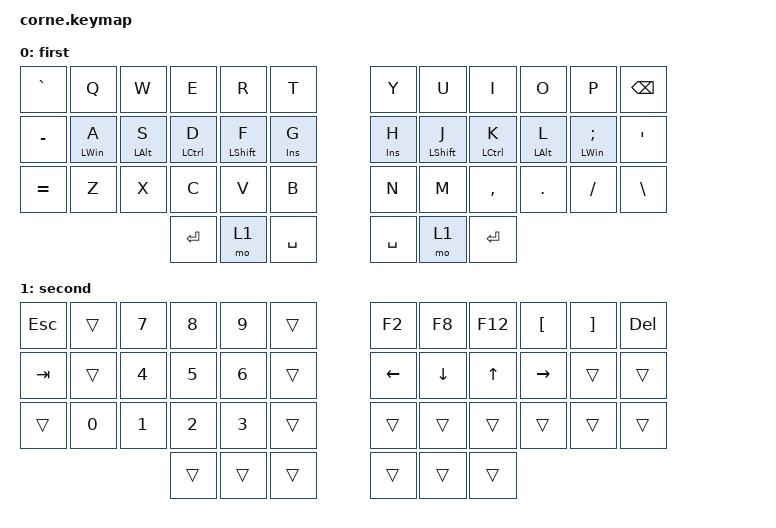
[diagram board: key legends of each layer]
/*
 * Copyright (c) 2020 The ZMK Contributors
 *
 * SPDX-License-Identifier: MIT
 */

#include <behaviors.dtsi>
#include <dt-bindings/zmk/keys.h>


&mt {
    hold-trigger-on-release;
    flavor = "tap-preferred";
    tapping-term-ms = <250>;
};

&lt { tapping-term-ms = <250>; };

/ {
    behaviors {
        new_behavior: new_behavior {
            compatible = "zmk,behavior-hold-tap";
            label = "NEW_BEHAVIOR";
            bindings = <&none>, <&none>;

            #binding-cells = <2>;
            tapping-term-ms = <150>;
            flavor = "tap-preferred";
        };
    };

    keymap {
        compatible = "zmk,keymap";

        first {
            bindings = <
&kp GRAVE  &kp Q           &kp W           &kp E               &kp R             &kp T        &kp Y           &kp U             &kp I               &kp O           &kp P                   &kp BACKSPACE
&kp MINUS  &mt LEFT_WIN A  &mt LEFT_ALT S  &mt LEFT_CONTROL D  &mt LEFT_SHIFT F  &mt INSERT G &mt INSERT H    &mt LEFT_SHIFT J  &mt LEFT_CONTROL K  &mt LEFT_ALT L  &mt LEFT_WIN SEMICOLON  &kp SQT
&kp EQUAL  &kp Z           &kp X           &kp C               &kp V             &kp B        &kp N           &kp M             &kp COMMA           &kp DOT         &kp SLASH               &kp BACKSLASH
                                           &kp ENTER           &mo 1             &kp SPACE    &kp SPACE       &mo 1             &kp ENTER
            >;
        };

        second {
            bindings = <
&kp ESCAPE  &trans        &kp NUMBER_7  &kp NUMBER_8  &kp NUMBER_9  &trans    &kp F2    &kp F8          &kp F12       &kp LEFT_BRACKET  &kp RIGHT_BRACKET  &kp DELETE
&kp TAB     &trans        &kp NUMBER_4  &kp NUMBER_5  &kp NUMBER_6  &trans    &kp LEFT  &kp DOWN_ARROW  &kp UP_ARROW  &kp RIGHT_ARROW   &trans             &trans
&trans      &kp NUMBER_0  &kp NUMBER_1  &kp NUMBER_2  &kp NUMBER_3  &trans    &trans    &trans          &trans        &trans            &trans             &trans
                                        &trans        &trans        &trans    &trans    &trans          &trans
            >;
        };
    };
};
